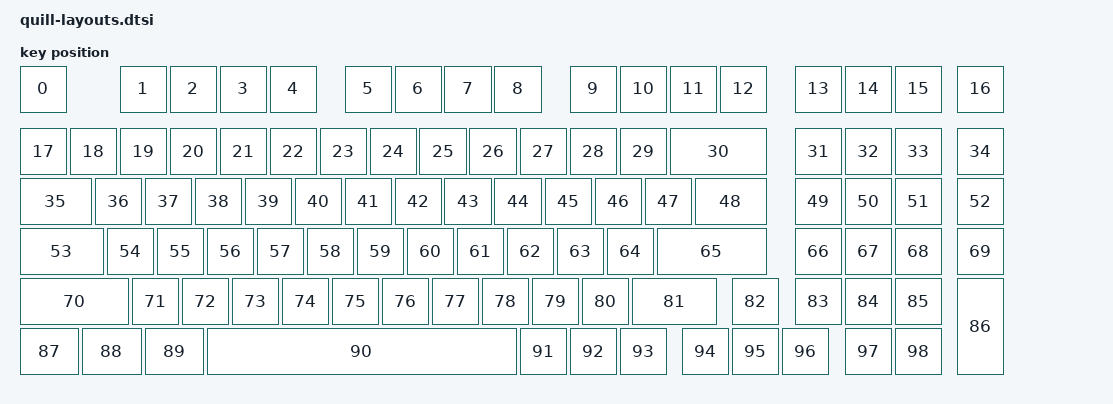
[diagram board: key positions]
#include <physical_layouts.dtsi>

/ {
    physical_layout_quill: physical_layout_quill {
        compatible = "zmk,physical-layout";
        display-name = "quill";
        keys  //                     w   h    x    y     rot    rx    ry
            = <&key_physical_attrs 100 100    0   25       0     0     0>
            , <&key_physical_attrs 100 100  200   25       0     0     0>
            , <&key_physical_attrs 100 100  300   25       0     0     0>
            , <&key_physical_attrs 100 100  400   25       0     0     0>
            , <&key_physical_attrs 100 100  500   25       0     0     0>
            , <&key_physical_attrs 100 100  650   25       0     0     0>
            , <&key_physical_attrs 100 100  750   25       0     0     0>
            , <&key_physical_attrs 100 100  850   25       0     0     0>
            , <&key_physical_attrs 100 100  950   25       0     0     0>
            , <&key_physical_attrs 100 100 1100   25       0     0     0>
            , <&key_physical_attrs 100 100 1200   25       0     0     0>
            , <&key_physical_attrs 100 100 1300   25       0     0     0>
            , <&key_physical_attrs 100 100 1400   25       0     0     0>
            , <&key_physical_attrs 100 100 1550   25       0     0     0>
            , <&key_physical_attrs 100 100 1650   25       0     0     0>
            , <&key_physical_attrs 100 100 1750   25       0     0     0>
            , <&key_physical_attrs 100 100 1875   25       0     0     0>
            , <&key_physical_attrs 100 100    0  150       0     0     0>
            , <&key_physical_attrs 100 100  100  150       0     0     0>
            , <&key_physical_attrs 100 100  200  150       0     0     0>
            , <&key_physical_attrs 100 100  300  150       0     0     0>
            , <&key_physical_attrs 100 100  400  150       0     0     0>
            , <&key_physical_attrs 100 100  500  150       0     0     0>
            , <&key_physical_attrs 100 100  600  150       0     0     0>
            , <&key_physical_attrs 100 100  700  150       0     0     0>
            , <&key_physical_attrs 100 100  800  150       0     0     0>
            , <&key_physical_attrs 100 100  900  150       0     0     0>
            , <&key_physical_attrs 100 100 1000  150       0     0     0>
            , <&key_physical_attrs 100 100 1100  150       0     0     0>
            , <&key_physical_attrs 100 100 1200  150       0     0     0>
            , <&key_physical_attrs 200 100 1300  150       0     0     0>
            , <&key_physical_attrs 100 100 1550  150       0     0     0>
            , <&key_physical_attrs 100 100 1650  150       0     0     0>
            , <&key_physical_attrs 100 100 1750  150       0     0     0>
            , <&key_physical_attrs 100 100 1875  150       0     0     0>
            , <&key_physical_attrs 150 100    0  250       0     0     0>
            , <&key_physical_attrs 100 100  150  250       0     0     0>
            , <&key_physical_attrs 100 100  250  250       0     0     0>
            , <&key_physical_attrs 100 100  350  250       0     0     0>
            , <&key_physical_attrs 100 100  450  250       0     0     0>
            , <&key_physical_attrs 100 100  550  250       0     0     0>
            , <&key_physical_attrs 100 100  650  250       0     0     0>
            , <&key_physical_attrs 100 100  750  250       0     0     0>
            , <&key_physical_attrs 100 100  850  250       0     0     0>
            , <&key_physical_attrs 100 100  950  250       0     0     0>
            , <&key_physical_attrs 100 100 1050  250       0     0     0>
            , <&key_physical_attrs 100 100 1150  250       0     0     0>
            , <&key_physical_attrs 100 100 1250  250       0     0     0>
            , <&key_physical_attrs 150 100 1350  250       0     0     0>
            , <&key_physical_attrs 100 100 1550  250       0     0     0>
            , <&key_physical_attrs 100 100 1650  250       0     0     0>
            , <&key_physical_attrs 100 100 1750  250       0     0     0>
            , <&key_physical_attrs 100 100 1875  250       0     0     0>
            , <&key_physical_attrs 175 100    0  350       0     0     0>
            , <&key_physical_attrs 100 100  175  350       0     0     0>
            , <&key_physical_attrs 100 100  275  350       0     0     0>
            , <&key_physical_attrs 100 100  375  350       0     0     0>
            , <&key_physical_attrs 100 100  475  350       0     0     0>
            , <&key_physical_attrs 100 100  575  350       0     0     0>
            , <&key_physical_attrs 100 100  675  350       0     0     0>
            , <&key_physical_attrs 100 100  775  350       0     0     0>
            , <&key_physical_attrs 100 100  875  350       0     0     0>
            , <&key_physical_attrs 100 100  975  350       0     0     0>
            , <&key_physical_attrs 100 100 1075  350       0     0     0>
            , <&key_physical_attrs 100 100 1175  350       0     0     0>
            , <&key_physical_attrs 225 100 1275  350       0     0     0>
            , <&key_physical_attrs 100 100 1550  350       0     0     0>
            , <&key_physical_attrs 100 100 1650  350       0     0     0>
            , <&key_physical_attrs 100 100 1750  350       0     0     0>
            , <&key_physical_attrs 100 100 1875  350       0     0     0>
            , <&key_physical_attrs 225 100    0  450       0     0     0>
            , <&key_physical_attrs 100 100  225  450       0     0     0>
            , <&key_physical_attrs 100 100  325  450       0     0     0>
            , <&key_physical_attrs 100 100  425  450       0     0     0>
            , <&key_physical_attrs 100 100  525  450       0     0     0>
            , <&key_physical_attrs 100 100  625  450       0     0     0>
            , <&key_physical_attrs 100 100  725  450       0     0     0>
            , <&key_physical_attrs 100 100  825  450       0     0     0>
            , <&key_physical_attrs 100 100  925  450       0     0     0>
            , <&key_physical_attrs 100 100 1025  450       0     0     0>
            , <&key_physical_attrs 100 100 1125  450       0     0     0>
            , <&key_physical_attrs 175 100 1225  450       0     0     0>
            , <&key_physical_attrs 100 100 1425  450       0     0     0>
            , <&key_physical_attrs 100 100 1550  450       0     0     0>
            , <&key_physical_attrs 100 100 1650  450       0     0     0>
            , <&key_physical_attrs 100 100 1750  450       0     0     0>
            , <&key_physical_attrs 100 200 1875  450       0     0     0>
            , <&key_physical_attrs 125 100    0  550       0     0     0>
            , <&key_physical_attrs 125 100  125  550       0     0     0>
            , <&key_physical_attrs 125 100  250  550       0     0     0>
            , <&key_physical_attrs 625 100  375  550       0     0     0>
            , <&key_physical_attrs 100 100 1000  550       0     0     0>
            , <&key_physical_attrs 100 100 1100  550       0     0     0>
            , <&key_physical_attrs 100 100 1200  550       0     0     0>
            , <&key_physical_attrs 100 100 1325  550       0     0     0>
            , <&key_physical_attrs 100 100 1425  550       0     0     0>
            , <&key_physical_attrs 100 100 1525  550       0     0     0>
            , <&key_physical_attrs 100 100 1650  550       0     0     0>
            , <&key_physical_attrs 100 100 1750  550       0     0     0>
            ;
    };
};
